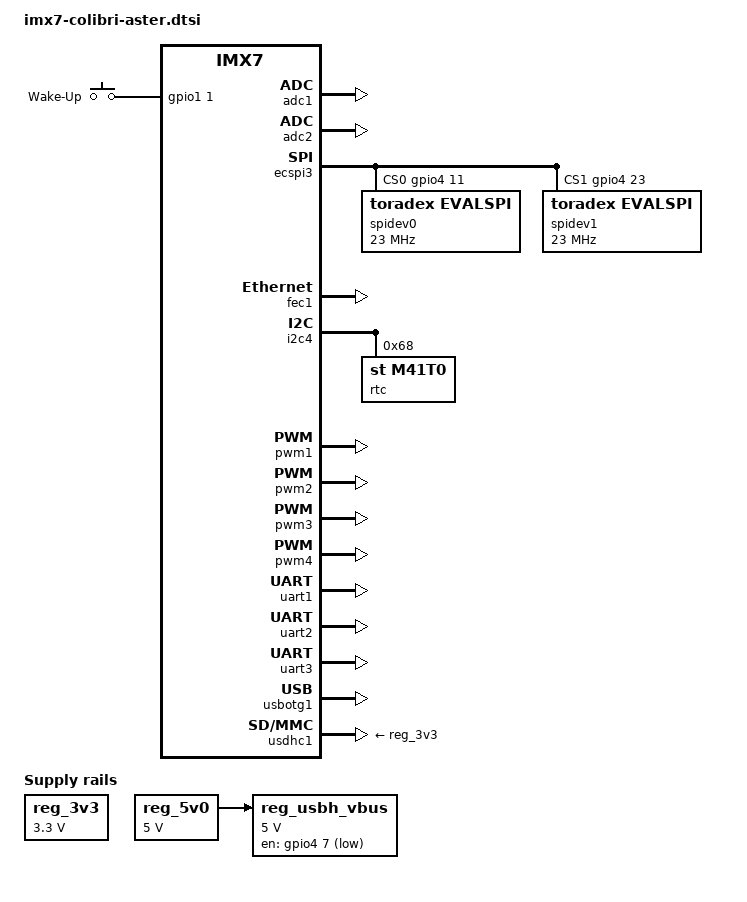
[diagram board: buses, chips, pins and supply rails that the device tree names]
/*
 * Copyright 2017-2019 Toradex AG
 *
 * This program is free software; you can redistribute it and/or modify
 * it under the terms of the GNU General Public License as published by
 * the Free Software Foundation; either version 2 of the License, or
 * (at your option) any later version.
 */

/ {
	chosen {
		bootargs = "console=ttymxc0,115200";
	};

	gpio-keys {
		compatible = "gpio-keys";
		pinctrl-names = "default";
		pinctrl-0 = <&pinctrl_gpiokeys>;

		power {
			label = "Wake-Up";
			gpios = <&gpio1 1 GPIO_ACTIVE_HIGH>;
			linux,code = <KEY_WAKEUP>;
			debounce-interval = <10>;
			wakeup-source;
		};
	};

	reg_3v3: regulator-3v3 {
		compatible = "regulator-fixed";
		regulator-name = "3.3V";
		regulator-min-microvolt = <3300000>;
		regulator-max-microvolt = <3300000>;
		regulator-always-on;
	};

	reg_5v0: regulator-5v0 {
		compatible = "regulator-fixed";
		regulator-name = "5V";
		regulator-min-microvolt = <5000000>;
		regulator-max-microvolt = <5000000>;
	};

	reg_usbh_vbus: regulator-usbh-vbus {
		compatible = "regulator-fixed";
		pinctrl-names = "default";
		pinctrl-0 = <&pinctrl_usbh_reg>;
		regulator-name = "VCC_USB[1-4]";
		regulator-min-microvolt = <5000000>;
		regulator-max-microvolt = <5000000>;
		gpio = <&gpio4 7 GPIO_ACTIVE_LOW>;
		vin-supply = <&reg_5v0>;
	};
};

&adc1 {
	status = "okay";
};

&adc2 {
	status = "okay";
};

&ecspi3 {
	fsl,spi-num-chipselects = <2>;
	cs-gpios = <
		&gpio4 11 GPIO_ACTIVE_HIGH
		&gpio4 23 GPIO_ACTIVE_HIGH
	>;
	pinctrl-names = "default";
	pinctrl-0 = <&pinctrl_ecspi3 &pinctrl_ecspi3_cs>;
	status = "okay";

	spidev0: spidev@0 {
		compatible = "toradex,evalspi";
		reg = <0>;
		spi-max-frequency = <23000000>;
	};

	spidev1: spidev@1 {
		compatible = "toradex,evalspi";
		reg = <1>;
		spi-max-frequency = <23000000>;
	};
};

&fec1 {
	status = "okay";
};

&i2c4 {
	status = "okay";

	/* M41T0M6 real time clock on carrier board */
	rtc: m41t0m6@68 {
		compatible = "st,m41t0";
		reg = <0x68>;
	};
};

&pwm1 {
	status = "okay";
};

&pwm2 {
	status = "okay";
};

&pwm3 {
	status = "okay";
};

&pwm4 {
	status = "okay";
};

&uart1 {
	status = "okay";
};

&uart2 {
	status = "okay";
};

&uart3 {
	status = "okay";
};

&usbotg1 {
	status = "okay";
};

&usdhc1 {
	wakeup-source;
	keep-power-in-suspend;
	vmmc-supply = <&reg_3v3>;
	status = "okay";
};

&iomuxc {
	pinctrl-names = "default";
	pinctrl-0 = <&pinctrl_gpio1 &pinctrl_gpio2 &pinctrl_gpio3 &pinctrl_gpio4>;
};
